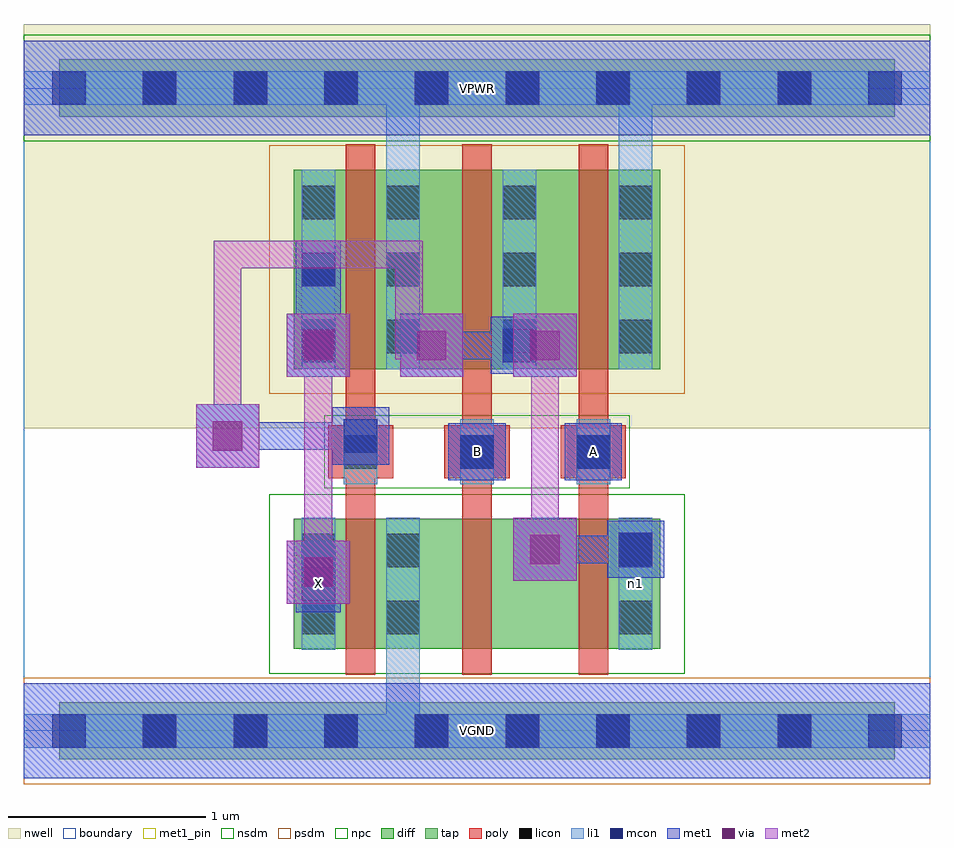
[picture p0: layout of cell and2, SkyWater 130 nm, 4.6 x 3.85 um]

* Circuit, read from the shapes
.subckt and2 A B VGND VPWR X n1
XM1 VGND n1 X VGND sky130_fd_pr__nfet_01v8 w=0.66 l=0.15
XM2 n2 B VGND VGND sky130_fd_pr__nfet_01v8 w=0.66 l=0.15
XM3 n1 A n2 VGND sky130_fd_pr__nfet_01v8 w=0.66 l=0.15
XM4 VPWR n1 X VPWR sky130_fd_pr__pfet_01v8 w=1.01 l=0.15
XM5 n1 B VPWR VPWR sky130_fd_pr__pfet_01v8 w=1.01 l=0.15
XM6 VPWR A n1 VPWR sky130_fd_pr__pfet_01v8 w=1.01 l=0.15
.ends

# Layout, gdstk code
import gdstk
lib = gdstk.Library(unit=1e-6, precision=1e-09)
def R(c, l, rs):  # rectangles x0, y0, x1, y1
    for r in rs: c.add(gdstk.rectangle(r[:2], r[2:], *l))
def A(c, l, x, y, w, h, nx, ny, dx, dy):  # array of equal rectangles
    R(c, l, [(x+i*dx, y+j*dy, x+i*dx+w, y+j*dy+h) for i in range(nx) for j in range(ny)])
nwell = (64, 20)
diff = (65, 20)
tap = (65, 44)
poly = (66, 20)
licon = (66, 44)
li1 = (67, 20)
mcon = (67, 44)
met1_pin = (68, 16)
met1 = (68, 20)
via = (68, 44)
met2 = (69, 20)
nsdm = (93, 44)
psdm = (94, 20)
npc = (95, 20)
boundary = (235, 4)

and2 = lib.new_cell('and2')
R(and2, nwell, [(0,1.535,4.6,3.585)])
R(and2, diff, [(1.37,0.415,3.23,1.075), (1.37,1.835,3.23,2.845)])
R(and2, tap, [(0.18,-0.145,4.42,0.145), (0.18,3.115,4.42,3.405)])
A(and2, poly, 1.635, 0.285, 0.15, 2.69, 3, 1, 0.59, 0)
A(and2, poly, 1.545, 1.28, 0.33, 0.27, 3, 1, 0.59, 0)
A(and2, licon, 0.605, -0.085, 0.17, 0.17, 8, 2, 0.46, 3.26)
A(and2, licon, 1.625, 1.33, 0.17, 0.17, 3, 1, 0.59, 0)
A(and2, licon, 1.41, 1.915, 0.17, 0.17, 1, 3, 0, 0.34)
A(and2, licon, 1.84, 1.915, 0.17, 0.17, 3, 3, 0.59, 0.34)
R(and2, licon, [(1.41,0.49,1.58,0.66), (1.84,0.49,2.01,0.66), (3.02,0.49,3.19,0.66), (1.41,0.83,1.58,1), (1.84,0.83,2.01,1), (3.02,0.83,3.19,1)])
A(and2, li1, 1.625, 1.25, 0.17, 0.33, 3, 1, 0.59, 0)
A(and2, li1, 1.84, 1.835, 0.17, 1.01, 3, 1, 0.59, 0)
R(and2, li1, [(0,-0.085,4.6,0.085), (1.84,-0.085,2.01,1.08), (1.41,0.41,1.58,1.08), (1.84,0.41,2.01,1.08), (3.02,0.41,3.19,1.08), (1.41,1.835,1.58,2.845), (1.84,1.835,2.01,3.345), (3.02,1.835,3.19,3.345), (0,3.175,4.6,3.345)])
A(and2, mcon, 0.145, -0.085, 0.17, 0.17, 10, 2, 0.46, 3.26)
R(and2, mcon, [(1.41,0.66,1.58,0.83), (3.02,0.835,3.19,1.005), (2.215,1.33,2.385,1.5), (2.805,1.33,2.975,1.5), (1.625,1.41,1.795,1.58), (1.41,1.87,1.58,2.04), (2.43,1.87,2.6,2.04), (1.41,2.255,1.58,2.425)])
R(and2, met1_pin, [(0,-0.24,4.6,0.24), (1.38,0.6,1.61,0.89), (2.155,1.27,2.445,1.56), (2.745,1.27,3.035,1.56), (0,3.02,4.6,3.5)])
A(and2, met1, 1.335, 1.795, 0.32, 0.32, 3, 1, 0.575, 0)
R(and2, met1, [(0,-0.24,4.6,0.24), (1.38,0.6,1.61,0.89), (1.335,0.645,1.655,0.965), (1.425,0.735,1.565,0.875), (2.485,0.76,2.805,1.08), (2.96,0.775,3.25,1.065), (2.575,0.85,3.175,0.99), (2.155,1.27,2.445,1.56), (2.745,1.27,3.035,1.56), (0.875,1.335,1.195,1.655), (1.565,1.35,1.855,1.64), (0.965,1.425,1.68,1.565), (1.54,1.425,1.78,1.565), (1.35,1.81,1.64,2.1), (2.37,1.81,2.66,2.1), (2,1.885,2.715,2.025), (2.445,1.885,2.715,2.025), (1.38,2.1,1.61,2.195), (1.38,2.115,1.61,2.195), (1.38,2.195,1.61,2.485), (0,3.02,4.6,3.5)])
A(and2, via, 1.42, 1.88, 0.15, 0.15, 3, 1, 0.575, 0)
R(and2, via, [(1.42,0.73,1.57,0.88), (2.57,0.845,2.72,0.995), (0.96,1.42,1.11,1.57)])
A(and2, met2, 1.335, 1.795, 0.32, 0.32, 3, 1, 0.575, 0)
R(and2, met2, [(1.335,0.645,1.655,0.965), (1.425,0.735,1.565,2.025), (2.485,0.76,2.805,1.08), (2.575,0.85,2.715,2.025), (0.875,1.335,1.195,1.655), (0.965,1.425,1.105,2.485), (1.885,1.885,2.14,2.025), (1.885,1.885,2.025,2.485), (0.965,2.345,2.025,2.485)])
R(and2, nsdm, [(1.245,0.29,3.355,1.2), (0,2.99,4.6,3.53)])
R(and2, psdm, [(0,-0.27,4.6,0.27), (1.245,1.71,3.355,2.97)])
R(and2, npc, [(1.525,1.23,3.075,1.6)])
R(and2, boundary, [(0,0,4.6,3.26)])
and2.add(gdstk.Label('n1', (3.105,0.745), layer=67, texttype=5))
and2.add(gdstk.Label('A', (2.89,1.415), layer=68, texttype=5))
and2.add(gdstk.Label('B', (2.3,1.415), layer=68, texttype=5))
and2.add(gdstk.Label('X', (1.495,0.745), layer=68, texttype=5))
and2.add(gdstk.Label('VPWR', (2.3,3.26), layer=68, texttype=5))
and2.add(gdstk.Label('VGND', (2.3,0), layer=68, texttype=5))
and2.add(gdstk.Label('A', (2.89,1.415), layer=68, texttype=16))
and2.add(gdstk.Label('B', (2.3,1.415), layer=68, texttype=16))
and2.add(gdstk.Label('X', (1.495,0.745), layer=68, texttype=16))
and2.add(gdstk.Label('VPWR', (2.3,3.26), layer=68, texttype=16))
and2.add(gdstk.Label('VGND', (2.3,0), layer=68, texttype=16))

lib.write_gds('and2.gds')
